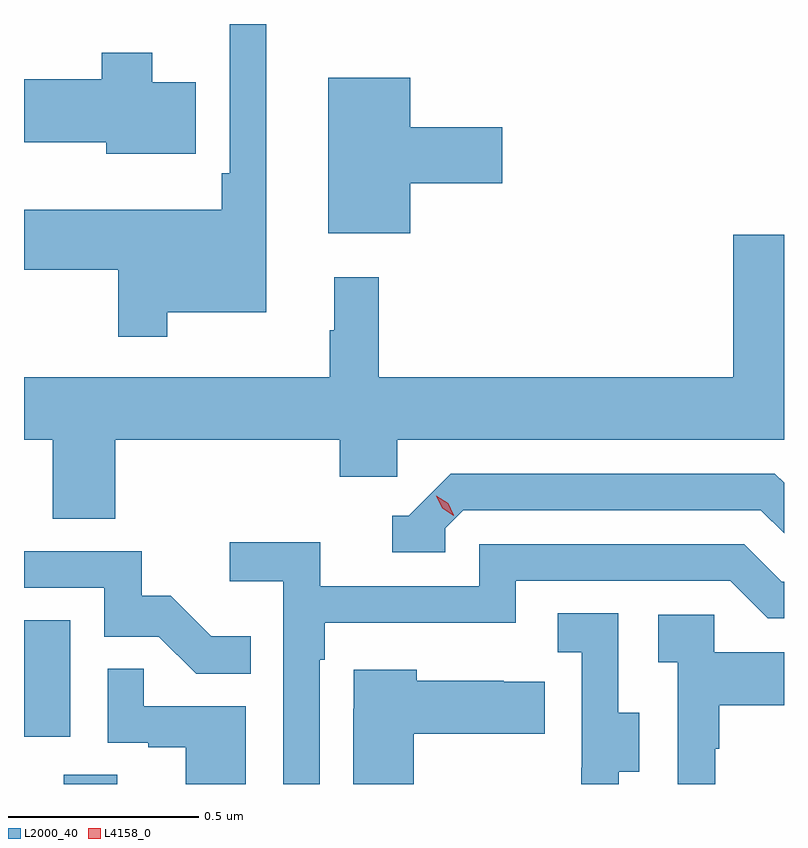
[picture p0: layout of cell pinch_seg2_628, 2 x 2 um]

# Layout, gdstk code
import gdstk
lib = gdstk.Library(unit=1e-6, precision=1e-09)
def R(c, l, rs):  # rectangles x0, y0, x1, y1
    for r in rs: c.add(gdstk.rectangle(r[:2], r[2:], *l))
def P(c, l, *ps):  # polygons
    for p in ps: c.add(gdstk.Polygon(p, *l))
L2000_40 = (2000, 40)
L4158_0 = (4158, 0)

pinch_seg2_628 = lib.new_cell('pinch_seg2_628')
R(pinch_seg2_628, L2000_40, [(1026.383,622.754,1026.523,622.778), (1026.278,622.878,1026.4,623.185)])
P(pinch_seg2_628, L2000_40, [(1026.655,623.996),(1026.916,623.996),(1026.916,624.754),(1026.819,624.754),(1026.819,624.361),(1026.799,624.361),(1026.799,624.265),(1026.278,624.265),(1026.278,624.107),(1026.526,624.107),(1026.526,623.931),(1026.655,623.931)],
  [(1026.73,624.601),(1026.616,624.601),(1026.616,624.679),(1026.482,624.679),(1026.482,624.609),(1026.278,624.609),(1026.278,624.443),(1026.494,624.443),(1026.494,624.413),(1026.73,624.413)],
  [(1027.294,624.335),(1027.537,624.335),(1027.537,624.482),(1027.294,624.482),(1027.294,624.613),(1027.079,624.613),(1027.079,624.203),(1027.294,624.203)],
  [(1026.518,623.66),(1027.109,623.66),(1027.109,623.562),(1027.26,623.562),(1027.26,623.66),(1028.278,623.66),(1028.278,624.199),(1028.144,624.199),(1028.144,623.824),(1027.211,623.824),(1027.211,624.088),(1027.094,624.088),(1027.094,623.948),(1027.083,623.948),(1027.083,623.824),(1026.278,623.824),(1026.278,623.66),(1026.353,623.66),(1026.353,623.452),(1026.518,623.452)],
  [(1027.386,623.427),(1027.434,623.475),(1028.217,623.475),(1028.278,623.414),(1028.278,623.547),(1028.254,623.571),(1027.401,623.571),(1027.29,623.46),(1027.247,623.46),(1027.247,623.364),(1027.386,623.364)],
  [(1027.056,623.081),(1027.07,623.081),(1027.07,623.178),(1027.572,623.178),(1027.572,623.289),(1028.136,623.289),(1028.235,623.19),(1028.278,623.19),(1028.278,623.286),(1028.272,623.286),(1028.173,623.385),(1027.476,623.385),(1027.476,623.274),(1027.058,623.274),(1027.058,623.39),(1026.819,623.39),(1026.819,623.288),(1026.96,623.288),(1026.96,622.754),(1027.056,622.754)],
  [(1026.875,623.143),(1026.771,623.143),(1026.664,623.25),(1026.588,623.25),(1026.588,623.367),(1026.278,623.367),(1026.278,623.271),(1026.489,623.271),(1026.489,623.142),(1026.633,623.142),(1026.731,623.044),(1026.875,623.044)],
  [(1027.843,622.786),(1027.897,622.786),(1027.897,622.941),(1027.842,622.941),(1027.842,623.204),(1027.683,623.204),(1027.683,623.101),(1027.746,623.101),(1027.746,622.797),(1027.745,622.797),(1027.745,622.754),(1027.843,622.754)],
  [(1028.097,622.847),(1028.107,622.847),(1028.107,622.961),(1028.278,622.961),(1028.278,623.101),(1028.094,623.101),(1028.094,623.199),(1027.947,623.199),(1027.947,623.075),(1027.998,623.075),(1027.998,622.754),(1028.097,622.754)],
  [(1026.862,622.959),(1026.593,622.959),(1026.593,623.057),(1026.498,623.057),(1026.498,622.863),(1026.605,622.863),(1026.605,622.851),(1026.704,622.851),(1026.704,622.754),(1026.862,622.754)],
  [(1027.303,622.886),(1027.649,622.886),(1027.649,623.023),(1027.541,623.023),(1027.541,623.026),(1027.311,623.026),(1027.311,623.055),(1027.146,623.055),(1027.146,622.952),(1027.145,622.952),(1027.145,622.754),(1027.303,622.754)])
P(pinch_seg2_628, L4158_0, [(1027.409,623.46),(1027.379,623.48),(1027.363,623.512),(1027.363,623.513),(1027.363,623.513),(1027.394,623.493),(1027.409,623.461),(1027.409,623.46)])

lib.write_gds('pinch_seg2_628.gds')
